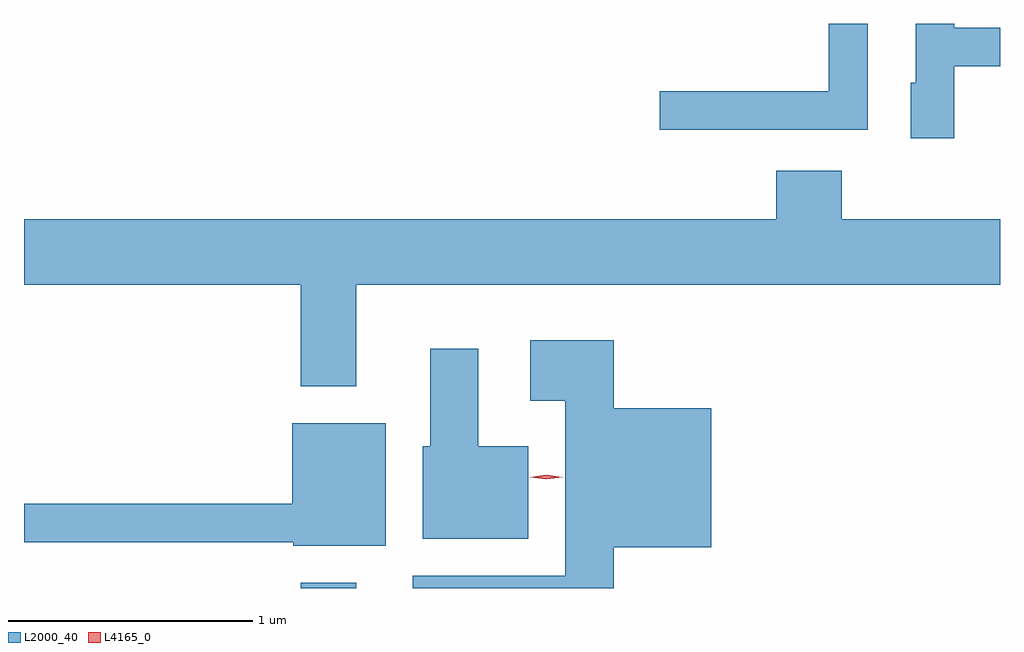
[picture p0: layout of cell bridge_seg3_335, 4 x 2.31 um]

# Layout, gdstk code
import gdstk
lib = gdstk.Library(unit=1e-6, precision=1e-09)
def R(c, l, rs):  # rectangles x0, y0, x1, y1
    for r in rs: c.add(gdstk.rectangle(r[:2], r[2:], *l))
def P(c, l, *ps):  # polygons
    for p in ps: c.add(gdstk.Polygon(p, *l))
L2000_40 = (2000, 40)
L4165_0 = (4165, 0)

bridge_seg3_335 = lib.new_cell('bridge_seg3_335')
R(bridge_seg3_335, L2000_40, [(601.971,1115.892,602.199,1115.914)])
P(bridge_seg3_335, L2000_40, [(604.294,1118.206),(604.136,1118.206),(604.136,1117.929),(603.443,1117.929),(603.443,1117.771),(604.294,1117.771)],
  [(604.649,1118.031),(604.837,1118.031),(604.837,1118.189),(604.649,1118.189),(604.649,1118.206),(604.491,1118.206),(604.491,1117.964),(604.471,1117.964),(604.471,1117.736),(604.649,1117.736)],
  [(602.199,1117.136),(604.837,1117.136),(604.837,1117.404),(604.189,1117.404),(604.189,1117.604),(603.921,1117.604),(603.921,1117.404),(600.837,1117.404),(600.837,1117.136),(601.971,1117.136),(601.971,1116.721),(602.199,1116.721)],
  [(603.254,1116.061),(603.654,1116.061),(603.654,1116.629),(603.254,1116.629),(603.254,1116.909),(602.911,1116.909),(602.911,1116.661),(603.056,1116.661),(603.056,1115.944),(602.431,1115.944),(602.431,1115.892),(603.254,1115.892)],
  [(602.904,1116.474),(602.699,1116.474),(602.699,1116.874),(602.501,1116.874),(602.501,1116.474),(602.471,1116.474),(602.471,1116.096),(602.904,1116.096)],
  [(602.319,1116.569),(601.936,1116.569),(601.936,1116.239),(600.837,1116.239),(600.837,1116.081),(601.94,1116.081),(601.94,1116.066),(602.319,1116.066)])
P(bridge_seg3_335, L4165_0, [(602.978,1116.338),(602.912,1116.348),(602.912,1116.348),(602.912,1116.348),(602.978,1116.358),(603.043,1116.348),(603.044,1116.348),(603.043,1116.348)])

lib.write_gds('bridge_seg3_335.gds')
